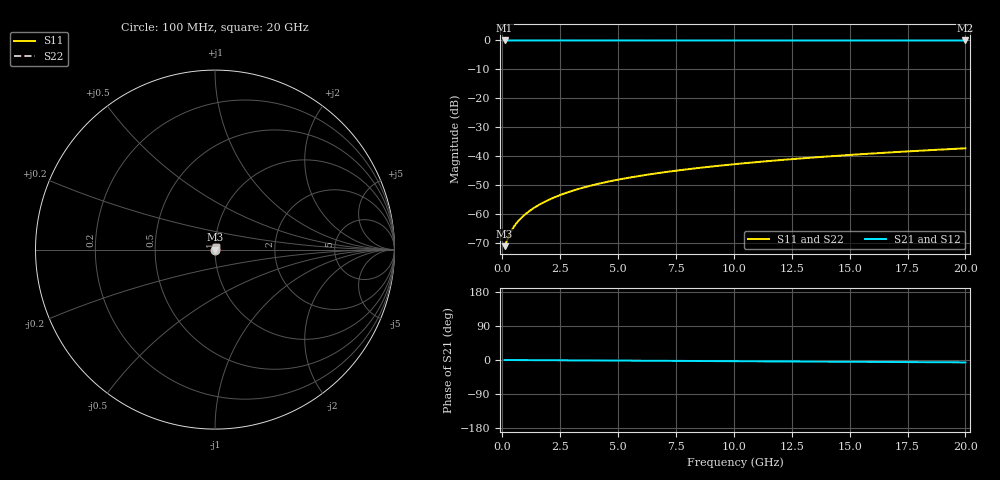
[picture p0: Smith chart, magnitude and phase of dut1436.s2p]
! Touchstone file exported from HFSS 2026.1.0
!  File:  C:/ffzhzh/LocalFiles/Ansys_Project_Files/temp_train_TSV_1436_1783197578_55132.aedt
!  Generated:  04:41:16 AM Jul  5, 2026
!  Design:  TSV
!  Project:  temp_train_TSV_1436_1783197578_55132
! Variables:
!  h_bsmrdl = 2um
!  h_ox = 20um
!  h_rdl = 5um
!  h_sub = 63.21um
!  h_tmrdl = 5um
!  h_tsv = 63.21um
!  h_via = 3um
!  l_bsmrdl = 300um
!  l_sub = 411.64um
!  l_tmrdl = 200um
!  m_sub = 200um
!  pitch = 27.47um
!  r_tsv = 5.82um
!  s_tmrdl = 10um
!  w_bsmrdl = 18um
!  w_sub = 500um
!  w_tmrdl = 12um
!  x_tsv_center1 = 206um
!  x_tsv_center2 = 524um
!  x_tsv_center3 = 736um
!  x_tsv_center4 = 1054um
!  x_tsv_center5 = 1266um
!  x_tsv_center6 = 1584um
# GHz S MA R 50.000000
! Terminal data exported
! Port[1] = TSV1_1_T1
! Port[2] = TSV1_1_T2
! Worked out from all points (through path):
!   200 points, 100 MHz to 20 GHz, reference 50 ohm
!   highest |S21| = 0.00 dB at 100 MHz (marker M1); lowest = 0.0 dB at 20 GHz (marker M2)
!   lowest |S11| = -71.2 dB at 100 MHz (marker M3), VSWR 1.00, Z = 50 + j0.011 ohm
!   |S11| at or under -10 dB: start of sweep to end of sweep
!   |S22| runs from -71.2 to -37.3 dB; largest |S21 - S12| = 2.9e-15
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0.1  0.0002753 23.6  0.9997 -0.0  0.9997 -0.0  0.0002753 23.6
! Gamma 0 0 0 0
! Port Impedance 50 0 50 0
0.3  0.0004254 48.2  0.9997 -0.1  0.9997 -0.1  0.0004254 48.2
0.4  0.0005116 53.5  0.9997 -0.1  0.9997 -0.1  0.0005116 53.5
0.5  0.0005962 56.9  0.9997 -0.2  0.9997 -0.2  0.0005962 56.9
0.6  0.0006783 59.4  0.9997 -0.2  0.9997 -0.2  0.0006783 59.4
0.8  0.0008359 62.9  0.9996 -0.3  0.9996 -0.3  0.0008359 62.9
1.1  0.001064 66.6  0.9996 -0.4  0.9996 -0.4  0.001064 66.6
1.3  0.001215 68.4  0.9996 -0.4  0.9996 -0.4  0.001215 68.4
1.6  0.00144 70.4  0.9995 -0.5  0.9995 -0.5  0.00144 70.4
2.1  0.001815 72.7  0.9995 -0.7  0.9995 -0.7  0.001815 72.7
2.7  0.002262 74.3  0.9994 -0.9  0.9994 -0.9  0.002262 74.3
3.5  0.002844 75.4  0.9993 -1.1  0.9993 -1.1  0.002844 75.4
4.2  0.003342 76.0  0.9993 -1.3  0.9993 -1.3  0.003342 76.0
5  0.003897 76.4  0.9992 -1.6  0.9992 -1.6  0.003897 76.4
5.9  0.004508 76.8  0.9991 -1.9  0.9991 -1.9  0.004508 76.8
6.8  0.00511 77.1  0.999 -2.2  0.999 -2.2  0.00511 77.1
8.3  0.006099 77.4  0.9989 -2.6  0.9989 -2.6  0.006099 77.4
10.1  0.007274 77.7  0.9988 -3.2  0.9988 -3.2  0.007274 77.7
11.7  0.008312 77.7  0.9987 -3.7  0.9987 -3.7  0.008312 77.7
13.4  0.009409 77.7  0.9986 -4.2  0.9986 -4.2  0.009409 77.7
16.7  0.01152 77.4  0.9985 -5.2  0.9985 -5.2  0.01152 77.4
20  0.0136 76.8  0.9983 -6.3  0.9983 -6.3  0.0136 76.8
